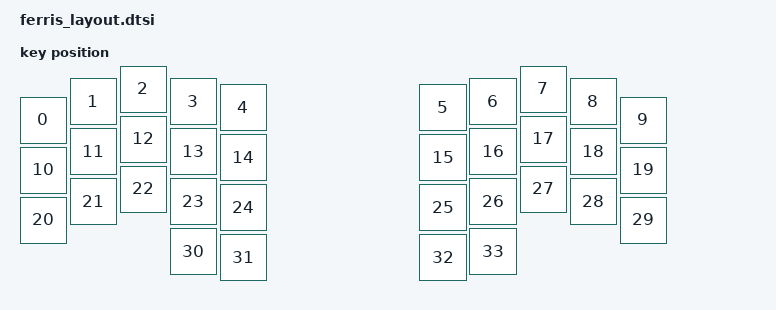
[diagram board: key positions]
#include <physical_layouts.dtsi>

#include "position_map.dtsi"

/ {
        jorian840_ferris_layout: jorian840_ferris_layout {
                compatible = "zmk,physical-layout";
                display-name = "Ferris";

                keys  //                 w   h    x    y     rot    rx    ry
                = <&key_physical_attrs 100 100    0   62       0     0     0>
                , <&key_physical_attrs 100 100  100   25       0     0     0>
                , <&key_physical_attrs 100 100  200    0       0     0     0>
                , <&key_physical_attrs 100 100  300   25       0     0     0>
                , <&key_physical_attrs 100 100  400   37       0     0     0>
                , <&key_physical_attrs 100 100  800   37       0     0     0>
                , <&key_physical_attrs 100 100  900   25       0     0     0>
                , <&key_physical_attrs 100 100 1000    0       0     0     0>
                , <&key_physical_attrs 100 100 1100   25       0     0     0>
                , <&key_physical_attrs 100 100 1200   62       0     0     0>
                , <&key_physical_attrs 100 100    0  162       0     0     0>
                , <&key_physical_attrs 100 100  100  125       0     0     0>
                , <&key_physical_attrs 100 100  200  100       0     0     0>
                , <&key_physical_attrs 100 100  300  125       0     0     0>
                , <&key_physical_attrs 100 100  400  137       0     0     0>
                , <&key_physical_attrs 100 100  800  137       0     0     0>
                , <&key_physical_attrs 100 100  900  125       0     0     0>
                , <&key_physical_attrs 100 100 1000  100       0     0     0>
                , <&key_physical_attrs 100 100 1100  125       0     0     0>
                , <&key_physical_attrs 100 100 1200  162       0     0     0>
                , <&key_physical_attrs 100 100    0  262       0     0     0>
                , <&key_physical_attrs 100 100  100  225       0     0     0>
                , <&key_physical_attrs 100 100  200  200       0     0     0>
                , <&key_physical_attrs 100 100  300  225       0     0     0>
                , <&key_physical_attrs 100 100  400  237       0     0     0>
                , <&key_physical_attrs 100 100  800  237       0     0     0>
                , <&key_physical_attrs 100 100  900  225       0     0     0>
                , <&key_physical_attrs 100 100 1000  200       0     0     0>
                , <&key_physical_attrs 100 100 1100  225       0     0     0>
                , <&key_physical_attrs 100 100 1200  262       0     0     0>
                , <&key_physical_attrs 100 100  300  325       0     0     0>
                , <&key_physical_attrs 100 100  400  337       0     0     0>
                , <&key_physical_attrs 100 100  800  337       0     0     0>
                , <&key_physical_attrs 100 100  900  325       0     0     0>
                ;
        };
};

&layouts_jorian840_position_map{
        jorian840_ferris_mapping: ferris {
                physical-layout = <&jorian840_ferris_layout>;

                positions
                = <34 35  0  1  2  3  4        5  6  7  8  9 36 37>
                , <   38 10 11 12 13 14       15 16 17 18 19 39   >
                , <   40 20 21 22 23 24       25 26 27 28 29 41   >
                , <               30 31 42 43 32 33               >;
        };
};
